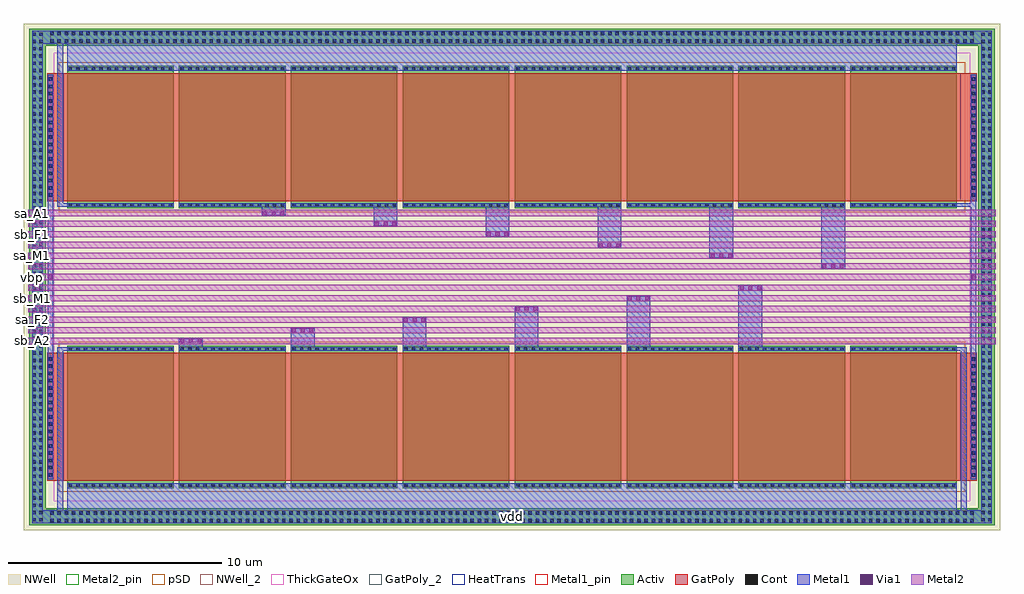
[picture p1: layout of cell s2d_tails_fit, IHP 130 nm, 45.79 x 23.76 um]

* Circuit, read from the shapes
.subckt s2d_tails_fit sa_A1 sa_A2 sa_F1 sa_F2 sa_M1 sa_M2 sb_A1 sb_A2 sb_F1 sb_F2 sb_M1 sb_M2 vbp vdd
XM1 vdd vbp vdd vdd sg13_hv_pmos w=5u l=6u m=3
XM2 sb_A2 vbp vdd vdd sg13_hv_pmos w=5u l=6u
XM3 vdd vbp sa_A1 vdd sg13_hv_pmos w=5u l=6u
XM4 sa_F1 vbp vdd vdd sg13_hv_pmos w=5u l=6u
XM5 vdd vbp sb_F2 vdd sg13_hv_pmos w=5u l=6u
XM6 sa_F2 vbp vdd vdd sg13_hv_pmos w=5u l=6u
XM7 vdd vbp sb_F1 vdd sg13_hv_pmos w=5u l=6u
XM8 sb_A1 vbp vdd vdd sg13_hv_pmos w=5u l=6u
XM9 vdd vbp sa_A2 vdd sg13_hv_pmos w=5u l=6u
XM10 sb_M1 vbp vdd vdd sg13_hv_pmos w=5u l=6u
XM11 vdd vbp sa_M1 vdd sg13_hv_pmos w=5u l=6u
XM12 sa_M2 vbp vdd vdd sg13_hv_pmos w=5u l=6u
XM13 vdd vbp sb_M2 vdd sg13_hv_pmos w=5u l=6u
XM14 vdd vbp vbp vdd sg13_hv_pmos w=5u l=6u
.ends

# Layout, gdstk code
from math import pi, radians
import gdstk
lib = gdstk.Library(unit=1e-6, precision=1e-09)
def R(c, l, rs):  # rectangles x0, y0, x1, y1
    for r in rs: c.add(gdstk.rectangle(r[:2], r[2:], *l))
def A(c, l, x, y, w, h, nx, ny, dx, dy):  # array of equal rectangles
    R(c, l, [(x+i*dx, y+j*dy, x+i*dx+w, y+j*dy+h) for i in range(nx) for j in range(ny)])
Activ = (1, 0)
GatPoly = (5, 0)
GatPoly_2 = (5, 2)
Cont = (6, 0)
Metal1 = (8, 0)
Metal1_pin = (8, 2)
Metal2 = (10, 0)
Metal2_pin = (10, 2)
pSD = (14, 0)
Via1 = (19, 0)
NWell = (31, 0)
NWell_2 = (31, 2)
ThickGateOx = (44, 0)
HeatTrans = (51, 0)

ntap1_18 = lib.new_cell('ntap1$18')
R(ntap1_18, Activ, [(0,0,0.78,23.28)])
A(ntap1_18, Cont, 0.14, 0.17, 0.16, 0.16, 1, 68, 0, 0.34)
A(ntap1_18, Cont, 0.48, 0.17, 0.16, 0.16, 1, 68, 0, 0.34)
R(ntap1_18, Metal1, [(0.14,0.12,0.64,23.16)])
R(ntap1_18, Metal1_pin, [(0.14,0.12,0.64,23.16), (0.14,0.17,0.64,23.11)])
R(ntap1_18, NWell, [(-0.24,-0.24,1.02,23.52), (0,0,0.78,23.28)])
R(ntap1_18, NWell_2, [(0,0,0.78,23.28)])
ntap1_18.add(gdstk.Label('well', (0.39,0.01), layer=63, texttype=0))
ntap1_18.add(gdstk.Label('well', (0.39,0.01), layer=31, texttype=0))

ntap1_19 = lib.new_cell('ntap1$19')
R(ntap1_19, Activ, [(0,0,43.75,0.78)])
A(ntap1_19, Cont, 0.205, 0.14, 0.16, 0.16, 128, 2, 0.34, 0.34)
R(ntap1_19, Metal1, [(0.205,0.09,43.545,0.69)])
R(ntap1_19, Metal1_pin, [(0.205,0.09,43.545,0.69), (0.205,0.14,43.545,0.64)])
R(ntap1_19, NWell, [(-0.24,-0.24,43.99,1.02), (0,0,43.75,0.78)])
R(ntap1_19, NWell_2, [(0,0,43.75,0.78)])
ntap1_19.add(gdstk.Label('well', (21.875,0.01), layer=63, texttype=0))
ntap1_19.add(gdstk.Label('well', (21.875,0.01), layer=31, texttype=0))

s2d_tails_wiring = lib.new_cell('s2d_tails_wiring')
R(s2d_tails_wiring, Metal1, [(-1.64,-1.65,43.39,-1.62), (-1.24,-1.65,-0.695,-1.05), (42.445,-1.65,42.99,-1.05), (-0.47,-1.15,-0.18,6.61), (41.93,-1.15,42.22,6.61), (-0.91,6.17,-0.65,13.63), (42.4,6.17,42.66,13.63), (-0.47,6.45,0.1,6.61), (5.25,6.45,6.36,7.005), (10.5,6.45,11.61,7.505), (15.75,6.45,16.86,8.005), (21,6.45,22.11,8.505), (26.25,6.45,27.36,9.005), (31.5,6.45,32.61,9.505), (41.65,6.45,42.22,6.61), (35.39,10.295,36.5,13.35), (30.14,10.795,31.25,13.35), (24.89,11.295,26,13.35), (19.64,11.795,20.75,13.35), (14.39,12.295,15.5,13.35), (9.14,12.795,10.25,13.35), (-0.47,13.19,-0.18,20.95), (-0.47,13.19,0.1,13.35), (41.65,13.19,42.66,13.35), (-1.24,20.85,-0.695,21.45), (42.445,20.85,42.99,21.45), (-1.64,21.42,43.39,21.45)])
A(s2d_tails_wiring, Via1, 5.3, 6.805, 0.19, 0.19, 3, 1, 0.41, 0)
A(s2d_tails_wiring, Via1, 10.55, 7.305, 0.19, 0.19, 3, 1, 0.41, 0)
A(s2d_tails_wiring, Via1, 15.8, 7.805, 0.19, 0.19, 3, 1, 0.41, 0)
A(s2d_tails_wiring, Via1, 21.05, 8.305, 0.19, 0.19, 3, 1, 0.41, 0)
A(s2d_tails_wiring, Via1, 26.3, 8.805, 0.19, 0.19, 3, 1, 0.41, 0)
A(s2d_tails_wiring, Via1, 31.55, 9.305, 0.19, 0.19, 3, 1, 0.41, 0)
A(s2d_tails_wiring, Via1, 35.44, 10.305, 0.19, 0.19, 3, 1, 0.41, 0)
A(s2d_tails_wiring, Via1, 30.19, 10.805, 0.19, 0.19, 3, 1, 0.41, 0)
A(s2d_tails_wiring, Via1, 24.94, 11.305, 0.19, 0.19, 3, 1, 0.41, 0)
A(s2d_tails_wiring, Via1, 19.69, 11.805, 0.19, 0.19, 3, 1, 0.41, 0)
A(s2d_tails_wiring, Via1, 14.44, 12.305, 0.19, 0.19, 3, 1, 0.41, 0)
A(s2d_tails_wiring, Via1, 9.19, 12.805, 0.19, 0.19, 3, 1, 0.41, 0)
R(s2d_tails_wiring, Via1, [(-0.875,9.805,-0.685,9.995), (42.435,9.805,42.625,9.995)])
R(s2d_tails_wiring, NWell, [(-2.02,-1.98,43.77,21.78)])
R(s2d_tails_wiring, ThickGateOx, [(-0.62,-0.62,42.37,20.42)])
s2d_tails_wiring.add(gdstk.FlexPath([(-1.665,6.9),(43.415,6.9)], 0.29, ends="extended", simple_path=True, layer=10, datatype=0))  # Metal2
s2d_tails_wiring.add(gdstk.FlexPath([(-1.665,7.4),(43.415,7.4)], 0.29, ends="extended", simple_path=True, layer=10, datatype=0))  # Metal2
s2d_tails_wiring.add(gdstk.FlexPath([(-1.665,7.9),(43.415,7.9)], 0.29, ends="extended", simple_path=True, layer=10, datatype=0))  # Metal2
s2d_tails_wiring.add(gdstk.FlexPath([(-1.665,8.4),(43.415,8.4)], 0.29, ends="extended", simple_path=True, layer=10, datatype=0))  # Metal2
s2d_tails_wiring.add(gdstk.FlexPath([(-1.665,8.9),(43.415,8.9)], 0.29, ends="extended", simple_path=True, layer=10, datatype=0))  # Metal2
s2d_tails_wiring.add(gdstk.FlexPath([(-1.665,9.4),(43.415,9.4)], 0.29, ends="extended", simple_path=True, layer=10, datatype=0))  # Metal2
s2d_tails_wiring.add(gdstk.FlexPath([(-1.665,9.9),(43.415,9.9)], 0.29, ends="extended", simple_path=True, layer=10, datatype=0))  # Metal2
s2d_tails_wiring.add(gdstk.FlexPath([(-1.665,10.4),(43.415,10.4)], 0.29, ends="extended", simple_path=True, layer=10, datatype=0))  # Metal2
s2d_tails_wiring.add(gdstk.FlexPath([(-1.665,10.9),(43.415,10.9)], 0.29, ends="extended", simple_path=True, layer=10, datatype=0))  # Metal2
s2d_tails_wiring.add(gdstk.FlexPath([(-1.665,11.4),(43.415,11.4)], 0.29, ends="extended", simple_path=True, layer=10, datatype=0))  # Metal2
s2d_tails_wiring.add(gdstk.FlexPath([(-1.665,11.9),(43.415,11.9)], 0.29, ends="extended", simple_path=True, layer=10, datatype=0))  # Metal2
s2d_tails_wiring.add(gdstk.FlexPath([(-1.665,12.4),(43.415,12.4)], 0.29, ends="extended", simple_path=True, layer=10, datatype=0))  # Metal2
s2d_tails_wiring.add(gdstk.FlexPath([(-1.665,12.9),(43.415,12.9)], 0.29, ends="extended", simple_path=True, layer=10, datatype=0))  # Metal2
s2d_tails_wiring.add(gdstk.Reference(ntap1_18, (-1.78,-1.74)))
s2d_tails_wiring.add(gdstk.Reference(ntap1_18, (42.75,-1.74)))
s2d_tails_wiring.add(gdstk.Reference(ntap1_19, (-1,20.76)))
s2d_tails_wiring.add(gdstk.Reference(ntap1_19, (-1,-1.74)))
s2d_tails_wiring.add(gdstk.Label('Tdummy', (2.5,3.34), layer=63, texttype=0))
s2d_tails_wiring.add(gdstk.Label('Tdummy', (2.5,16.46), layer=63, texttype=0))
s2d_tails_wiring.add(gdstk.Label('TA2b', (7.75,3.34), layer=63, texttype=0))
s2d_tails_wiring.add(gdstk.Label('TA1a', (7.75,16.46), layer=63, texttype=0))
s2d_tails_wiring.add(gdstk.Label('TF1a', (13,3.34), layer=63, texttype=0))
s2d_tails_wiring.add(gdstk.Label('TF2b', (13,16.46), layer=63, texttype=0))
s2d_tails_wiring.add(gdstk.Label('TF2a', (18.25,3.34), layer=63, texttype=0))
s2d_tails_wiring.add(gdstk.Label('TF1b', (18.25,16.46), layer=63, texttype=0))
s2d_tails_wiring.add(gdstk.Label('TA1b', (23.5,3.34), layer=63, texttype=0))
s2d_tails_wiring.add(gdstk.Label('TA2a', (23.5,16.46), layer=63, texttype=0))
s2d_tails_wiring.add(gdstk.Label('TM1b', (28.75,3.34), layer=63, texttype=0))
s2d_tails_wiring.add(gdstk.Label('TM1a', (28.75,16.46), layer=63, texttype=0))
s2d_tails_wiring.add(gdstk.Label('TM2a', (34,3.34), layer=63, texttype=0))
s2d_tails_wiring.add(gdstk.Label('TM2b', (34,16.46), layer=63, texttype=0))
s2d_tails_wiring.add(gdstk.Label('Tdummy', (39.25,3.34), layer=63, texttype=0))
s2d_tails_wiring.add(gdstk.Label('BP', (39.25,16.46), layer=63, texttype=0))

pmoshv_1 = lib.new_cell('pmosHV$1')
R(pmoshv_1, Activ, [(0,0,0.3,0.3), (0,0,6.68,5), (6.38,0,6.68,0.3)])
R(pmoshv_1, GatPoly, [(0.34,-0.18,6.34,5.18)])
R(pmoshv_1, GatPoly_2, [(0.34,-0.18,6.34,5.18)])
A(pmoshv_1, Cont, 0.07, 0.07, 0.16, 0.16, 1, 4, 0, 0.36)
A(pmoshv_1, Cont, 6.45, 0.07, 0.16, 0.16, 1, 4, 0, 0.36)
A(pmoshv_1, Cont, 0.07, 1.515, 0.16, 0.16, 1, 3, 0, 0.36)
A(pmoshv_1, Cont, 6.45, 1.515, 0.16, 0.16, 1, 3, 0, 0.36)
A(pmoshv_1, Cont, 0.07, 2.6, 0.16, 0.16, 1, 3, 0, 0.36)
A(pmoshv_1, Cont, 6.45, 2.6, 0.16, 0.16, 1, 3, 0, 0.36)
A(pmoshv_1, Cont, 0.07, 3.685, 0.16, 0.16, 1, 3, 0, 0.36)
A(pmoshv_1, Cont, 6.45, 3.685, 0.16, 0.16, 1, 3, 0, 0.36)
R(pmoshv_1, Cont, [(0.07,4.77,0.23,4.93), (6.45,4.77,6.61,4.93)])
R(pmoshv_1, Metal1, [(0.07,0,0.23,5), (6.45,0,6.61,5)])
R(pmoshv_1, Metal1_pin, [(0.07,0,0.23,5), (6.45,0,6.61,5)])
R(pmoshv_1, pSD, [(-0.18,-0.4,6.86,5.4)])
R(pmoshv_1, NWell, [(-0.62,-0.62,7.3,5.62)])
R(pmoshv_1, ThickGateOx, [(-0.62,-0.62,7.3,5.62)])
R(pmoshv_1, HeatTrans, [(0.34,-0.18,6.34,5.18)])
pmoshv_1.add(gdstk.Label('pmosHV', (3.34,2.5), layer=63, texttype=0))
pmoshv_1.add(gdstk.Label('pmos', (3.34,2.5), layer=51, texttype=0))

s2d_tails_row = lib.new_cell('s2d_tails_row')
R(s2d_tails_row, GatPoly, [(-0.93,0.34,-0.18,6.34), (41.93,0.34,42.68,6.34)])
A(s2d_tails_row, Cont, -0.86, 0.54, 0.16, 0.16, 1, 17, 0, 0.34)
A(s2d_tails_row, Cont, 42.45, 0.54, 0.16, 0.16, 1, 17, 0, 0.34)
R(s2d_tails_row, Metal1, [(0,-1.65,41.75,0.23), (-0.91,0.41,-0.65,6.27), (42.4,0.41,42.66,6.27)])
R(s2d_tails_row, Metal1_pin, [(0,-1.65,41.75,-1.05), (-0.91,0.41,-0.65,6.27), (42.4,0.41,42.66,6.27)])
r = gdstk.Reference(pmoshv_1, (0,0), rotation=pi/2, x_reflection=True); r.repetition = gdstk.Repetition(1, 8, v1=(0,0), v2=(5.25,0)); s2d_tails_row.add(r)
s2d_tails_row.add(gdstk.Label('vdd', (20.875,-1.35), layer=8, texttype=25))
s2d_tails_row.add(gdstk.Label('vbp', (-0.78,3.34), layer=8, texttype=25))
s2d_tails_row.add(gdstk.Label('vbp', (42.53,3.34), layer=8, texttype=25))

s2d_tails_fit = lib.new_cell('s2d_tails_fit')
R(s2d_tails_fit, Metal1_pin, [(-0.795,-1.65,42.545,-1.05)])
A(s2d_tails_fit, Metal2_pin, -1.81, 6.755, 0.4, 0.29, 1, 13, 0, 0.5)
s2d_tails_fit.add(gdstk.Reference(s2d_tails_wiring, (0,0)))
s2d_tails_fit.add(gdstk.Reference(s2d_tails_row, (0,0)))
s2d_tails_fit.add(gdstk.Reference(s2d_tails_row, (41.75,19.8), rotation=pi))
s2d_tails_fit.add(gdstk.Label('vdd', (20.875,-1.35), layer=8, texttype=25))
s2d_tails_fit.add(gdstk.Label('sb_A2', (-1.61,6.9), layer=10, texttype=25))
s2d_tails_fit.add(gdstk.Label('sa_F1', (-1.61,7.4), layer=10, texttype=25))
s2d_tails_fit.add(gdstk.Label('sa_F2', (-1.61,7.9), layer=10, texttype=25))
s2d_tails_fit.add(gdstk.Label('sb_A1', (-1.61,8.4), layer=10, texttype=25))
s2d_tails_fit.add(gdstk.Label('sb_M1', (-1.61,8.9), layer=10, texttype=25))
s2d_tails_fit.add(gdstk.Label('sa_M2', (-1.61,9.4), layer=10, texttype=25))
s2d_tails_fit.add(gdstk.Label('vbp', (-1.61,9.9), layer=10, texttype=25))
s2d_tails_fit.add(gdstk.Label('sb_M2', (-1.61,10.4), layer=10, texttype=25))
s2d_tails_fit.add(gdstk.Label('sa_M1', (-1.61,10.9), layer=10, texttype=25))
s2d_tails_fit.add(gdstk.Label('sa_A2', (-1.61,11.4), layer=10, texttype=25))
s2d_tails_fit.add(gdstk.Label('sb_F1', (-1.61,11.9), layer=10, texttype=25))
s2d_tails_fit.add(gdstk.Label('sb_F2', (-1.61,12.4), layer=10, texttype=25))
s2d_tails_fit.add(gdstk.Label('sa_A1', (-1.61,12.9), layer=10, texttype=25))

lib.write_gds('s2d_tails_fit.gds')
